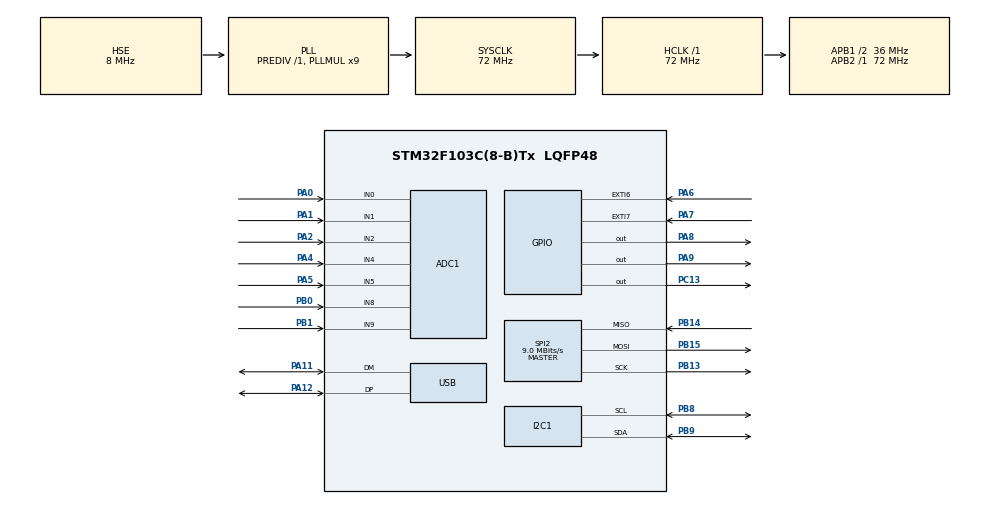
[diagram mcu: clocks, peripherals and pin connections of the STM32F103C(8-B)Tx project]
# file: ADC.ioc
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ADC1.Channel-0\#ChannelRegularConversion=ADC_CHANNEL_0
ADC1.Channel-2\#ChannelRegularConversion=ADC_CHANNEL_1
ADC1.Channel-3\#ChannelRegularConversion=ADC_CHANNEL_2
ADC1.Channel-4\#ChannelRegularConversion=ADC_CHANNEL_9
ADC1.Channel-5\#ChannelRegularConversion=ADC_CHANNEL_4
ADC1.Channel-6\#ChannelRegularConversion=ADC_CHANNEL_5
ADC1.ContinuousConvMode=ENABLE
ADC1.DiscontinuousConvMode=DISABLE
ADC1.NbrOfConversion=6
ADC1.NbrOfConversionFlag=1
ADC1.Rank-0\#ChannelRegularConversion=1
ADC1.Rank-2\#ChannelRegularConversion=2
ADC1.Rank-3\#ChannelRegularConversion=3
ADC1.Rank-4\#ChannelRegularConversion=4
ADC1.Rank-5\#ChannelRegularConversion=5
ADC1.Rank-6\#ChannelRegularConversion=6
ADC1.SamplingTime-0\#ChannelRegularConversion=ADC_SAMPLETIME_239CYCLES_5
ADC1.SamplingTime-2\#ChannelRegularConversion=ADC_SAMPLETIME_239CYCLES_5
ADC1.SamplingTime-3\#ChannelRegularConversion=ADC_SAMPLETIME_239CYCLES_5
ADC1.SamplingTime-4\#ChannelRegularConversion=ADC_SAMPLETIME_239CYCLES_5
ADC1.SamplingTime-5\#ChannelRegularConversion=ADC_SAMPLETIME_239CYCLES_5
ADC1.SamplingTime-6\#ChannelRegularConversion=ADC_SAMPLETIME_239CYCLES_5
ADC1.master=1
Dma.ADC1.0.Direction=DMA_PERIPH_TO_MEMORY
Dma.ADC1.0.Instance=DMA1_Channel1
Dma.ADC1.0.MemDataAlignment=DMA_MDATAALIGN_HALFWORD
Dma.ADC1.0.MemInc=DMA_MINC_ENABLE
Dma.ADC1.0.Mode=DMA_CIRCULAR
Dma.ADC1.0.PeriphDataAlignment=DMA_PDATAALIGN_HALFWORD
Dma.ADC1.0.PeriphInc=DMA_PINC_DISABLE
Dma.ADC1.0.Priority=DMA_PRIORITY_LOW
Dma.Request0=ADC1
Mcu.Family=STM32F1
Mcu.Name=STM32F103C(8-B)Tx
Mcu.Package=LQFP48
NVIC.ADC1_2_IRQn=true\:0\:0\:false\:false\:true\:true\:true
NVIC.DMA1_Channel1_IRQn=true\:0\:0\:false\:false\:true\:false\:true
NVIC.EXTI9_5_IRQn=true\:0\:0\:false\:false\:true\:true\:true
NVIC.PriorityGroup=NVIC_PRIORITYGROUP_4
NVIC.TIM4_IRQn=true\:0\:0\:false\:false\:true\:true\:true
NVIC.USB_LP_CAN1_RX0_IRQn=true\:0\:0\:false\:false\:true\:false\:true
PA0-WKUP.Signal=ADCx_IN0
PA1.Signal=ADCx_IN1
PA11.Mode=Device
PA11.Signal=USB_DM
PA12.Mode=Device
PA12.Signal=USB_DP
PA13.Mode=Serial_Wire
PA13.Signal=SYS_JTMS-SWDIO
PA14.Mode=Serial_Wire
PA14.Signal=SYS_JTCK-SWCLK
PA2.Signal=ADCx_IN2
PA4.Signal=ADCx_IN4
PA5.Signal=ADCx_IN5
PA6.GPIO_ModeDefaultEXTI=GPIO_MODE_IT_RISING
PA6.GPIO_PuPd=GPIO_PULLUP
PA6.Signal=GPXTI6
PA7.GPIO_ModeDefaultEXTI=GPIO_MODE_IT_RISING
PA7.GPIO_PuPd=GPIO_PULLUP
PA7.Signal=GPXTI7
PA8.GPIO_Speed=GPIO_SPEED_FREQ_MEDIUM
PA8.PinState=GPIO_PIN_RESET
PA8.Signal=GPIO_Output
PA9.GPIO_Speed=GPIO_SPEED_FREQ_MEDIUM
PA9.Signal=GPIO_Output
PB0.Signal=ADCx_IN8
PB1.Signal=ADCx_IN9
PB13.Mode=Full_Duplex_Master
PB13.Signal=SPI2_SCK
PB14.Mode=Full_Duplex_Master
PB14.Signal=SPI2_MISO
PB15.Mode=Full_Duplex_Master
PB15.Signal=SPI2_MOSI
PB8.Mode=I2C
PB8.Signal=I2C1_SCL
PB9.Mode=I2C
PB9.Signal=I2C1_SDA
PC13-TAMPER-RTC.Signal=GPIO_Output
PD0-OSC_IN.Mode=HSE-External-Oscillator
PD0-OSC_IN.Signal=RCC_OSC_IN
PD1-OSC_OUT.Mode=HSE-External-Oscillator
PD1-OSC_OUT.Signal=RCC_OSC_OUT
ProjectManager.HeapSize=0x200
ProjectManager.StackSize=0x400
ProjectManager.TargetToolchain=STM32CubeIDE
RCC.ADCPresc=RCC_ADCPCLK2_DIV8
RCC.AHBFreq_Value=72000000
RCC.APB1CLKDivider=RCC_HCLK_DIV2
RCC.APB1Freq_Value=36000000
RCC.APB1TimFreq_Value=72000000
RCC.APB2Freq_Value=72000000
RCC.APB2TimFreq_Value=72000000
RCC.HCLKFreq_Value=72000000
RCC.PLLMUL=RCC_PLL_MUL9
RCC.PLLSourceVirtual=RCC_PLLSOURCE_HSE
RCC.SYSCLKFreq_VALUE=72000000
RCC.SYSCLKSource=RCC_SYSCLKSOURCE_PLLCLK
RCC.USBFreq_Value=48000000
RCC.USBPrescaler=RCC_USBCLKSOURCE_PLL_DIV1_5
SH.ADCx_IN0.0=ADC1_IN0,IN0
SH.ADCx_IN1.0=ADC1_IN1,IN1
SH.ADCx_IN2.0=ADC1_IN2,IN2
SH.ADCx_IN4.0=ADC1_IN4,IN4
SH.ADCx_IN5.0=ADC1_IN5,IN5
SH.ADCx_IN8.0=ADC1_IN8,IN8
SH.ADCx_IN9.0=ADC1_IN9,IN9
SPI2.BaudRatePrescaler=SPI_BAUDRATEPRESCALER_4
SPI2.CalculateBaudRate=9.0 MBits/s
SPI2.Direction=SPI_DIRECTION_2LINES
SPI2.Mode=SPI_MODE_MASTER
SPI2.VirtualType=VM_MASTER
TIM4.Period=1000
TIM4.Prescaler=71
USB_DEVICE.CLASS_NAME_FS=CDC
USB_DEVICE.VirtualMode=Cdc
USB_DEVICE.VirtualModeFS=Cdc_FS
VP_TIM4_VS_ClockSourceINT.Mode=Internal
VP_USB_DEVICE_VS_USB_DEVICE_CDC_FS.Mode=CDC_FS
board=custom

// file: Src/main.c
/* USER CODE BEGIN Header */
/**
  ******************************************************************************
  * @file           : main.c
  * @brief          : Main program body
  ******************************************************************************
  * @attention
  *
  * <h2><center>&copy; Copyright (c) 2019 STMicroelectronics.
  * All rights reserved.</center></h2>
  *
  * This software component is licensed by ST under BSD 3-Clause license,
  * the "License"; You may not use this file except in compliance with the
  * License. You may obtain a copy of the License at:
  *                        opensource.org/licenses/BSD-3-Clause
  *
  ******************************************************************************
  */
/* USER CODE END Header */

#include "main.h"
#include "usb_device.h"

/* USER CODE BEGIN Includes */
#include "nrf24_hal.h"
#include "nrf24.h"
#include "ssd1306.h"
#include "ssd1306_fonts.h"
/* USER CODE END Includes */

ADC_HandleTypeDef hadc1;
DMA_HandleTypeDef hdma_adc1;

I2C_HandleTypeDef hi2c1;

SPI_HandleTypeDef hspi2;

TIM_HandleTypeDef htim4;

/* USER CODE BEGIN PV */
uint16_t a[6];
float temp[6];
uint8_t buf[12];
uint16_t value,value1, value2;

/* USER CODE END PV */

void SystemClock_Config(void);
static void MX_GPIO_Init(void);
static void MX_DMA_Init(void);
static void MX_ADC1_Init(void);
static void MX_I2C1_Init(void);
static void MX_SPI2_Init(void);
static void MX_TIM4_Init(void);

/* USER CODE BEGIN 0 */
uint32_t sent_pack = 0;
uint32_t lost_pckts = 0;
uint8_t status;
uint8_t TRANSMIT_ON = 0;
uint8_t ARM_ON = 0;
int count = 0;
/* USER CODE END 0 */

int main(void)
{

  /* MCU Configuration--------------------------------------------------------*/

  /* Reset of all peripherals, Initializes the Flash interface and the Systick. */
  HAL_Init();

  /* Configure the system clock */
  SystemClock_Config();

  /* Initialize all configured peripherals */
  MX_GPIO_Init();
  MX_DMA_Init();
  MX_ADC1_Init();
  MX_I2C1_Init();
  MX_SPI2_Init();
  MX_TIM4_Init();
  MX_USB_DEVICE_Init();
  /* USER CODE BEGIN 2 */
//  ssd1306_TestAll();
  ssd1306_Init();
  ssd1306_Fill(Black);
  ssd1306_SetCursor(2, 0);
  ssd1306_WriteString("ARM:",  Font_6x8,White);
  ssd1306_SetCursor(2, 10);
  ssd1306_WriteString("MODE:",  Font_6x8,White);

  ssd1306_UpdateScreen();
//  for(int i = 0; i < 255; i++){
//	  if(HAL_I2C_IsDeviceReady(&hi2c1, i, 3, 2) == HAL_OK){
//	  			HAL_GPIO_TogglePin(GPIOC, GPIO_PIN_13);
////	  			I2C_ClearBusyFlagErratum(&i2c, 10);
//	      	}
//  }
//  HAL_ADC_Start_DMA(&hadc1,a,2);  // start the adc in dma mode
  // here value is the buffer, where the adc values are going to store
  // 3 is the number of values going to store == no. of channels we are using
  uint8_t ADDR[] = { 'n', 'R', 'F', '2', '4' }; // the TX address
  nRF24_SetRFChannel(90); // set RF channel to 2490MHz
  nRF24_SetDataRate(nRF24_DR_2Mbps); // 2Mbit/s data rate
  nRF24_SetCRCScheme(nRF24_CRC_1byte); // 1-byte CRC scheme
  nRF24_SetAddrWidth(5); // address width is 5 bytes
  nRF24_SetAddr(nRF24_PIPETX, ADDR); // program TX address
  nRF24_SetAddr(nRF24_PIPE0, ADDR); // program pipe#0 RX address, must be same as TX (for ACK packets)
  nRF24_SetTXPower(nRF24_TXPWR_0dBm); // configure TX power
  nRF24_SetAutoRetr(nRF24_ARD_2500us, 10); // configure auto retransmit: 10 retransmissions with pause of 2500s in between
  nRF24_EnableAA(nRF24_PIPE0); // enable Auto-ACK for pipe#0 (for ACK packets)
  nRF24_SetOperationalMode(nRF24_MODE_TX); // switch transceiver to the TX mode
  nRF24_SetPowerMode(nRF24_PWR_UP); // wake-up transceiver (in case if it sleeping)
  HAL_ADC_Start_DMA(&hadc1,a,6);
  /* USER CODE END 2 */

  /* Infinite loop */
  while (1)
  {

    /* USER CODE BEGIN 3 */

	  HAL_Delay (100); // 200ms delay

	  temp[0] = 0;
	  temp[1] = 0;
	  temp[2] = 0;
	  temp[3] = 0;
	  temp[4] = 0;
	  temp[5] = 0;
      count = 0;

	  buf[0] = 's';
	  buf[1] = (a[1] & 0xFF00) >> 8;
      buf[2] = (a[1] & 0x00FF);

	  buf[3] = (a[2] & 0xFF00) >> 8;
      buf[4] = (a[2] & 0x00FF);

	  buf[5] = (a[3] & 0xFF00) >> 8;
      buf[6] = (a[3] & 0x00FF);

	  buf[7] = (a[4] & 0xFF00) >> 8;
      buf[8] = (a[4] & 0x00FF);
      buf[9] = 'e';
      char str[4];
      sprintf(str, "%d ", a[1]);

	  CDC_Transmit_FS(str, strlen(str));
      ssd1306_SetCursor(2, 20);
      ssd1306_WriteString(str,  Font_6x8,White);

      sprintf(str, "%d ", a[2]);
      CDC_Transmit_FS(str,strlen(str));
      ssd1306_SetCursor(30, 20);
      ssd1306_WriteString(str,  Font_6x8,White);

      sprintf(str, "%d ", a[3]);
      CDC_Transmit_FS(str,strlen(str));
      ssd1306_SetCursor(2, 30);
      ssd1306_WriteString(str,  Font_6x8,White);

      sprintf(str, "%d ", a[4]);
      CDC_Transmit_FS(str, strlen(str));
      ssd1306_SetCursor(30, 30);
      ssd1306_WriteString(str,  Font_6x8,White);
      CDC_Transmit_FS("\n", 1);
//	  HAL_UART_Transmit(&huart1,(uint8_t*) buf, strlen(buf),1000);
//      ssd1306_Fill(Black);
      if(ARM_ON){
				  ssd1306_SetCursor(22, 0);
				  ssd1306_WriteString("OFF",  Font_6x8,Black);
    			  ssd1306_SetCursor(22, 0);
    			  ssd1306_WriteString("ON ",  Font_6x8,White);
    		  }
    		  else{
    			  ssd1306_SetCursor(22, 0);
    			  ssd1306_WriteString("ON ",  Font_6x8,Black);
    			  ssd1306_SetCursor(22, 0);
    			  ssd1306_WriteString("OFF",  Font_6x8,White);
    		  }
	  if(TRANSMIT_ON){
	  nRF24_WritePayload(buf, 10); // transfer payload data to transceiver
	  nRF24_CE_H; // assert CE pin (transmission starts)

		  status = nRF24_GetStatus(); // get status of nRF24
		  nRF24_ClearIRQFlags(); // clear any pending IRQ flags
		  uint8_t otx = nRF24_GetRetransmitCounters(); // get some stats, this variable will contain two counters
		  uint8_t otx_plos_cnt = (otx & nRF24_MASK_PLOS_CNT) >> 4; // packets lost counter
		  uint8_t otx_arc_cnt  = (otx & nRF24_MASK_ARC_CNT); // auto retransmissions counter
		  if (otx_arc_cnt > 0) {
		      // ARC_CNT is non zero, has been few retransmissions
		      // ... do something here with this knowlege ...
		      // This counter will be reset when a new transmission starts
		  }
		  if (status & nRF24_FLAG_TX_DS) {
//			  break;
			  sent_pack++;
		  }
		  if (status & nRF24_FLAG_MAX_RT) {
		      // Maximum number of retransmits happened, the lost packets counter must be non zero
		      // This counter counts up to 15 and then stops (protection from overflow as datasheet says)
		      // For example the software can have some variable as counter for lost packets (e.g. uint32_t lost_pckts)...
		      lost_pckts += otx_plos_cnt; // update global counter of lost packets
		      nRF24_ResetPLOS(); // reset PLOS_CNT value
		  }

	  nRF24_CE_L; // de-assert CE pin (nRF24 goes to StandBy-I mode)
	  nRF24_ClearIRQFlags(); // clear any pending IRQ flags

	  ssd1306_SetCursor(30, 10);
	  ssd1306_WriteString("OFF",  Font_6x8,Black);

	  ssd1306_SetCursor(30, 10);
	  ssd1306_WriteString("ON ",  Font_6x8,White);

	  ssd1306_SetCursor(60, 0);
	  ssd1306_WriteString("TX er: ",  Font_6x8,White);

	  ssd1306_SetCursor(60, 10);
	  ssd1306_WriteString("TX OK: ",  Font_6x8,White);

	  ssd1306_SetCursor(103, 0);
	  sprintf(str, "%d ", lost_pckts);
	  ssd1306_WriteString(str,  Font_6x8,White);

	  ssd1306_SetCursor(103, 10);
	  sprintf(str, "%d ", sent_pack);
	  ssd1306_WriteString(str,  Font_6x8,White);
	  }
	  else{
		  ssd1306_SetCursor(30, 10);
		  ssd1306_WriteString("ON ",  Font_6x8,Black);
		  ssd1306_SetCursor(30, 10);
		  ssd1306_WriteString("OFF",  Font_6x8,White);
	  }
//
	  ssd1306_UpdateScreen();
  }

   // then pull CE pin to HIGH, and the nRF24 will start a receive...
//  /* USER CODE END 2 */
//
//  /* Infinite loop */
//  /* USER CODE BEGIN WHILE */

  /* USER CODE END 3 */
}

void SystemClock_Config(void)
{
  RCC_OscInitTypeDef RCC_OscInitStruct = {0};
  RCC_ClkInitTypeDef RCC_ClkInitStruct = {0};
  RCC_PeriphCLKInitTypeDef PeriphClkInit = {0};

  /** Initializes the CPU, AHB and APB busses clocks
  */
  RCC_OscInitStruct.OscillatorType = RCC_OSCILLATORTYPE_HSE;
  RCC_OscInitStruct.HSEState = RCC_HSE_ON;
  RCC_OscInitStruct.HSEPredivValue = RCC_HSE_PREDIV_DIV1;
  RCC_OscInitStruct.HSIState = RCC_HSI_ON;
  RCC_OscInitStruct.PLL.PLLState = RCC_PLL_ON;
  RCC_OscInitStruct.PLL.PLLSource = RCC_PLLSOURCE_HSE;
  RCC_OscInitStruct.PLL.PLLMUL = RCC_PLL_MUL9;
  if (HAL_RCC_OscConfig(&RCC_OscInitStruct) != HAL_OK)
  {
    Error_Handler();
  }
  /** Initializes the CPU, AHB and APB busses clocks
  */
  RCC_ClkInitStruct.ClockType = RCC_CLOCKTYPE_HCLK|RCC_CLOCKTYPE_SYSCLK
                              |RCC_CLOCKTYPE_PCLK1|RCC_CLOCKTYPE_PCLK2;
  RCC_ClkInitStruct.SYSCLKSource = RCC_SYSCLKSOURCE_PLLCLK;
  RCC_ClkInitStruct.AHBCLKDivider = RCC_SYSCLK_DIV1;
  RCC_ClkInitStruct.APB1CLKDivider = RCC_HCLK_DIV2;
  RCC_ClkInitStruct.APB2CLKDivider = RCC_HCLK_DIV1;

  if (HAL_RCC_ClockConfig(&RCC_ClkInitStruct, FLASH_LATENCY_2) != HAL_OK)
  {
    Error_Handler();
  }
  PeriphClkInit.PeriphClockSelection = RCC_PERIPHCLK_ADC|RCC_PERIPHCLK_USB;
  PeriphClkInit.AdcClockSelection = RCC_ADCPCLK2_DIV8;
  PeriphClkInit.UsbClockSelection = RCC_USBCLKSOURCE_PLL_DIV1_5;
  if (HAL_RCCEx_PeriphCLKConfig(&PeriphClkInit) != HAL_OK)
  {
    Error_Handler();
  }
}

static void MX_ADC1_Init(void)
{

  ADC_ChannelConfTypeDef sConfig = {0};

  /** Common config
  */
  hadc1.Instance = ADC1;
  hadc1.Init.ScanConvMode = ADC_SCAN_ENABLE;
  hadc1.Init.ContinuousConvMode = ENABLE;
  hadc1.Init.DiscontinuousConvMode = DISABLE;
  hadc1.Init.ExternalTrigConv = ADC_SOFTWARE_START;
  hadc1.Init.DataAlign = ADC_DATAALIGN_RIGHT;
  hadc1.Init.NbrOfConversion = 6;
  if (HAL_ADC_Init(&hadc1) != HAL_OK)
  {
    Error_Handler();
  }
  /** Configure Regular Channel
  */
  sConfig.Channel = ADC_CHANNEL_0;
  sConfig.Rank = ADC_REGULAR_RANK_1;
  sConfig.SamplingTime = ADC_SAMPLETIME_239CYCLES_5;
  if (HAL_ADC_ConfigChannel(&hadc1, &sConfig) != HAL_OK)
  {
    Error_Handler();
  }
  /** Configure Regular Channel
  */
  sConfig.Channel = ADC_CHANNEL_1;
  sConfig.Rank = ADC_REGULAR_RANK_2;
  if (HAL_ADC_ConfigChannel(&hadc1, &sConfig) != HAL_OK)
  {
    Error_Handler();
  }
  /** Configure Regular Channel
  */
  sConfig.Channel = ADC_CHANNEL_2;
  sConfig.Rank = ADC_REGULAR_RANK_3;
  if (HAL_ADC_ConfigChannel(&hadc1, &sConfig) != HAL_OK)
  {
    Error_Handler();
  }
  /** Configure Regular Channel
  */
  sConfig.Channel = ADC_CHANNEL_9;
  sConfig.Rank = ADC_REGULAR_RANK_4;
  if (HAL_ADC_ConfigChannel(&hadc1, &sConfig) != HAL_OK)
  {
    Error_Handler();
  }
  /** Configure Regular Channel
  */
  sConfig.Channel = ADC_CHANNEL_4;
  sConfig.Rank = ADC_REGULAR_RANK_5;
  if (HAL_ADC_ConfigChannel(&hadc1, &sConfig) != HAL_OK)
  {
    Error_Handler();
  }
  /** Configure Regular Channel
  */
  sConfig.Channel = ADC_CHANNEL_5;
  sConfig.Rank = ADC_REGULAR_RANK_6;
  if (HAL_ADC_ConfigChannel(&hadc1, &sConfig) != HAL_OK)
  {
    Error_Handler();
  }

}

static void MX_I2C1_Init(void)
{

  hi2c1.Instance = I2C1;
  hi2c1.Init.ClockSpeed = 100000;
  hi2c1.Init.DutyCycle = I2C_DUTYCYCLE_2;
  hi2c1.Init.OwnAddress1 = 0;
  hi2c1.Init.AddressingMode = I2C_ADDRESSINGMODE_7BIT;
  hi2c1.Init.DualAddressMode = I2C_DUALADDRESS_DISABLE;
  hi2c1.Init.OwnAddress2 = 0;
  hi2c1.Init.GeneralCallMode = I2C_GENERALCALL_DISABLE;
  hi2c1.Init.NoStretchMode = I2C_NOSTRETCH_DISABLE;
  if (HAL_I2C_Init(&hi2c1) != HAL_OK)
  {
    Error_Handler();
  }

}

static void MX_SPI2_Init(void)
{

  /* SPI2 parameter configuration*/
  hspi2.Instance = SPI2;
  hspi2.Init.Mode = SPI_MODE_MASTER;
  hspi2.Init.Direction = SPI_DIRECTION_2LINES;
  hspi2.Init.DataSize = SPI_DATASIZE_8BIT;
  hspi2.Init.CLKPolarity = SPI_POLARITY_LOW;
  hspi2.Init.CLKPhase = SPI_PHASE_1EDGE;
  hspi2.Init.NSS = SPI_NSS_SOFT;
  hspi2.Init.BaudRatePrescaler = SPI_BAUDRATEPRESCALER_4;
  hspi2.Init.FirstBit = SPI_FIRSTBIT_MSB;
  hspi2.Init.TIMode = SPI_TIMODE_DISABLE;
  hspi2.Init.CRCCalculation = SPI_CRCCALCULATION_DISABLE;
  hspi2.Init.CRCPolynomial = 10;
  if (HAL_SPI_Init(&hspi2) != HAL_OK)
  {
    Error_Handler();
  }

}

static void MX_TIM4_Init(void)
{

  TIM_ClockConfigTypeDef sClockSourceConfig = {0};
  TIM_MasterConfigTypeDef sMasterConfig = {0};

  htim4.Instance = TIM4;
  htim4.Init.Prescaler = 71;
  htim4.Init.CounterMode = TIM_COUNTERMODE_UP;
  htim4.Init.Period = 1000;
  htim4.Init.ClockDivision = TIM_CLOCKDIVISION_DIV1;
  htim4.Init.AutoReloadPreload = TIM_AUTORELOAD_PRELOAD_DISABLE;
  if (HAL_TIM_Base_Init(&htim4) != HAL_OK)
  {
    Error_Handler();
  }
  sClockSourceConfig.ClockSource = TIM_CLOCKSOURCE_INTERNAL;
  if (HAL_TIM_ConfigClockSource(&htim4, &sClockSourceConfig) != HAL_OK)
  {
    Error_Handler();
  }
  sMasterConfig.MasterOutputTrigger = TIM_TRGO_RESET;
  sMasterConfig.MasterSlaveMode = TIM_MASTERSLAVEMODE_DISABLE;
  if (HAL_TIMEx_MasterConfigSynchronization(&htim4, &sMasterConfig) != HAL_OK)
  {
    Error_Handler();
  }

}

static void MX_DMA_Init(void)
{

  /* DMA controller clock enable */
  __HAL_RCC_DMA1_CLK_ENABLE();

  /* DMA interrupt init */
  /* DMA1_Channel1_IRQn interrupt configuration */
  HAL_NVIC_SetPriority(DMA1_Channel1_IRQn, 0, 0);
  HAL_NVIC_EnableIRQ(DMA1_Channel1_IRQn);

}

static void MX_GPIO_Init(void)
{
  GPIO_InitTypeDef GPIO_InitStruct = {0};

  /* GPIO Ports Clock Enable */
  __HAL_RCC_GPIOC_CLK_ENABLE();
  __HAL_RCC_GPIOD_CLK_ENABLE();
  __HAL_RCC_GPIOA_CLK_ENABLE();
  __HAL_RCC_GPIOB_CLK_ENABLE();

  /*Configure GPIO pin Output Level */
  HAL_GPIO_WritePin(GPIOC, GPIO_PIN_13, GPIO_PIN_RESET);

  /*Configure GPIO pin Output Level */
  HAL_GPIO_WritePin(GPIOA, GPIO_PIN_8|GPIO_PIN_9, GPIO_PIN_RESET);

  /*Configure GPIO pin : PC13 */
  GPIO_InitStruct.Pin = GPIO_PIN_13;
  GPIO_InitStruct.Mode = GPIO_MODE_OUTPUT_PP;
  GPIO_InitStruct.Pull = GPIO_NOPULL;
  GPIO_InitStruct.Speed = GPIO_SPEED_FREQ_LOW;
  HAL_GPIO_Init(GPIOC, &GPIO_InitStruct);

  /*Configure GPIO pins : PA6 PA7 */
  GPIO_InitStruct.Pin = GPIO_PIN_6|GPIO_PIN_7;
  GPIO_InitStruct.Mode = GPIO_MODE_IT_RISING;
  GPIO_InitStruct.Pull = GPIO_PULLUP;
  HAL_GPIO_Init(GPIOA, &GPIO_InitStruct);

  /*Configure GPIO pins : PA8 PA9 */
  GPIO_InitStruct.Pin = GPIO_PIN_8|GPIO_PIN_9;
  GPIO_InitStruct.Mode = GPIO_MODE_OUTPUT_PP;
  GPIO_InitStruct.Pull = GPIO_NOPULL;
  GPIO_InitStruct.Speed = GPIO_SPEED_FREQ_MEDIUM;
  HAL_GPIO_Init(GPIOA, &GPIO_InitStruct);

  /* EXTI interrupt init*/
  HAL_NVIC_SetPriority(EXTI9_5_IRQn, 0, 0);
  HAL_NVIC_EnableIRQ(EXTI9_5_IRQn);

}

/* USER CODE BEGIN 4 */
void HAL_ADC_ConvCpltCallback(ADC_HandleTypeDef* hadc)
{
  /* Prevent unused argument(s) compilation warning */
  UNUSED(hadc);
  /* NOTE : This function should not be modified. When the callback is needed,
            function HAL_ADC_ConvCpltCallback must be implemented in the user file.
   */
  temp[0] += a[0];
  temp[1] += a[1];
  temp[2] += a[2];
  temp[3] += a[3];
  temp[4] += a[4];
  temp[5] += a[5];
  count++;
}

/* USER CODE END 4 */

void Error_Handler(void)
{
}

/************************ (C) COPYRIGHT STMicroelectronics *****END OF FILE****/
